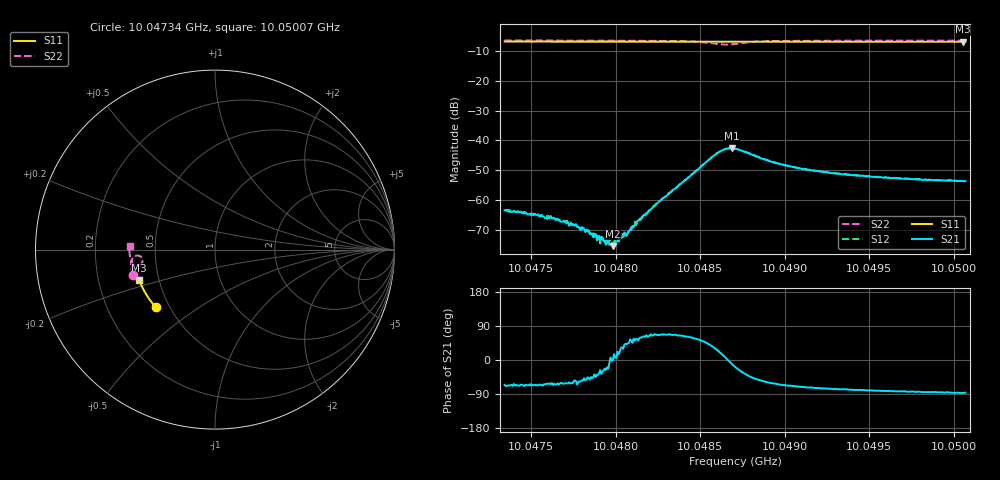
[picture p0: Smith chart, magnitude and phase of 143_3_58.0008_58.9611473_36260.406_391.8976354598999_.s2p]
#  HZ  S  RI  R  50.00
! Rohde & Schwarz Vector Network Analyzer
! Rohde-Schwarz,ZNB20-2Port,1311601062101988,3.16
! Created: UTC 3/21/2024, 12:56:43 AM
! freq[Hz]  re:S11  im:S11  re:S21  im:S21  re:S12  im:S12  re:S22  im:S22
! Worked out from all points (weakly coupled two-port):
!   401 points, 10.04734 GHz to 10.05007 GHz, reference 50 ohm
!   highest |S21| = -42.64 dB at 10.04869 GHz (marker M1); lowest = -75.5 dB at 10.04798 GHz (marker M2)
!   lowest |S11| = -6.8 dB at 10.05006 GHz (marker M3), VSWR 2.67, Z = 19.3 - j8.23 ohm
!   |S11| at or under -10 dB: nowhere
!   |S22| runs from -7.8 to -6.4 dB; largest |S21 - S12| = 0.00052
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1.0047342e10  -0.33 -0.3209  0.000276 -0.000609  0.000297 -0.000617  -0.4573 -0.1422
1.0047615e10  -0.3418 -0.3072  0.000237 -0.000479  0.000253 -0.00047  -0.4617 -0.1231
1.0047717e10  -0.3463 -0.3019  0.0002 -0.000376  0.000206 -0.000346  -0.4634 -0.1157
1.0047799e10  -0.3497 -0.2979  0.000207 -0.000282  0.000216 -0.000245  -0.4643 -0.1096
1.0047867e10  -0.3526 -0.2941  0.000167 -0.000166  0.000211 -0.000179  -0.4653 -0.1043
1.0047901e10  -0.3539 -0.2923  0.000204 -0.000144  0.000175 -0.000144  -0.4656 -0.1016
1.0047935e10  -0.3552 -0.2905  0.000194 -8.09e-05  0.000197 -4.01e-05  -0.4661 -0.0989
1.0047956e10  -0.356 -0.2894  0.000191 -8.22e-05  0.000165 -2.93e-05  -0.4661 -0.0971
1.0047983e10  -0.3572 -0.2879  0.000168 -3.94e-07  0.00018 7.62e-06  -0.4665 -0.0949
1.0048017e10  -0.3587 -0.2862  0.000218 6.23e-05  0.000193 4.46e-05  -0.4666 -0.092
1.0048058e10  -0.3603 -0.2841  0.000191 0.000174  0.000199 0.000209  -0.4669 -0.0886
1.0048126e10  -0.3627 -0.2804  0.000248 0.000363  0.000202 0.000357  -0.4672 -0.0825
1.0048256e10  -0.3678 -0.2734  0.000388 0.000855  0.00033 0.000885  -0.4662 -0.0695
1.004859e10  -0.3798 -0.2547  0.00503 0.00288  0.00488 0.00321  -0.4208 -0.0351
1.0048645e10  -0.3813 -0.2518  0.00702 0.00105  0.00698 0.00144  -0.4048 -0.0526
1.0048686e10  -0.3826 -0.2499  0.00726 -0.00129  0.00737 -0.0008  -0.4057 -0.0722
1.0048706e10  -0.3834 -0.2487  0.00689 -0.00223  0.00707 -0.0018  -0.4107 -0.0798
1.0048938e10  -0.3916 -0.2359  0.00199 -0.00374  0.0022 -0.0037  -0.4621 -0.0727
1.0049163e10  -0.3988 -0.2227  0.000914 -0.00298  0.00108 -0.00298  -0.4722 -0.0487
1.004962e10  -0.4121 -0.1956  0.000348 -0.0023  0.000453 -0.00232  -0.4765 -0.0114
1.0050056e10  -0.4228 -0.1689  0.000122 -0.00209  0.000226 -0.00208  -0.4763 0.0199
1.005007e10  -0.4233 -0.1681  0.000139 -0.00207  0.000222 -0.00204  -0.4762 0.0209
